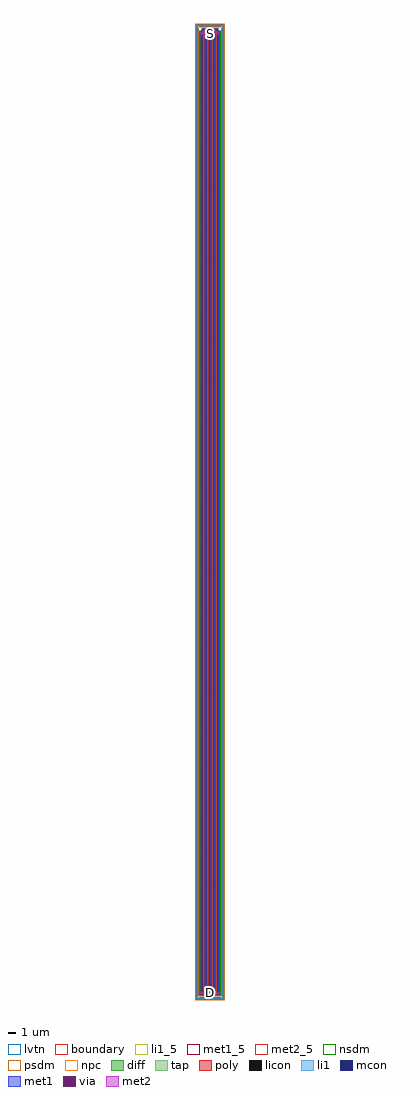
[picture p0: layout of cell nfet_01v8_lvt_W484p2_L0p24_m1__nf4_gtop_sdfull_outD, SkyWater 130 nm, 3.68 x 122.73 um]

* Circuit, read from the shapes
.subckt nfet_01v8_lvt_W484p2_L0p24_m1__nf4_gtop_sdfull_outD B D G S
XM1 S G D B sky130_fd_pr__nfet_01v8_lvt w=121.05 l=0.24 m=4
.ends

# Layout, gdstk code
import gdstk
lib = gdstk.Library(unit=1e-6, precision=1e-09)
def R(c, l, rs):  # rectangles x0, y0, x1, y1
    for r in rs: c.add(gdstk.rectangle(r[:2], r[2:], *l))
def A(c, l, x, y, w, h, nx, ny, dx, dy):  # array of equal rectangles
    R(c, l, [(x+i*dx, y+j*dy, x+i*dx+w, y+j*dy+h) for i in range(nx) for j in range(ny)])
diff = (65, 20)
tap = (65, 44)
poly = (66, 20)
licon = (66, 44)
li1_5 = (67, 5)
li1 = (67, 20)
mcon = (67, 44)
met1_5 = (68, 5)
met1 = (68, 20)
via = (68, 44)
met2_5 = (69, 5)
met2 = (69, 20)
nsdm = (93, 44)
psdm = (94, 20)
npc = (95, 20)
lvtn = (125, 44)
boundary = (235, 4)

sky130_fd_pr__nfet_01v8_ = lib.new_cell('sky130_fd_pr__nfet_01v8_lvt_P8DK7W')
R(sky130_fd_pr__nfet_01v8_, diff, [(-1.205,-60.68,1.205,60.37)])
R(sky130_fd_pr__nfet_01v8_, tap, [(-1.715,-61.24,1.715,-61.07), (-1.715,-61.07,-1.545,61.07), (1.545,-61.07,1.715,61.07), (-1.715,61.07,1.715,61.24)])
A(sky130_fd_pr__nfet_01v8_, poly, -0.915, -60.81, 0.24, 121.29, 4, 1, 0.53, 0)
R(sky130_fd_pr__nfet_01v8_, poly, [(-1.06,60.48,1.06,60.81)])
A(sky130_fd_pr__nfet_01v8_, licon, -1.105, -61.24, 0.17, 0.17, 7, 2, 0.34, 122.31)
A(sky130_fd_pr__nfet_01v8_, licon, -1.715, -60.605, 0.17, 0.17, 1, 357, 0, 0.34)
A(sky130_fd_pr__nfet_01v8_, licon, 1.545, -60.605, 0.17, 0.17, 1, 357, 0, 0.34)
A(sky130_fd_pr__nfet_01v8_, licon, -1.145, -60.59, 0.17, 0.17, 5, 356, 0.53, 0.34)
A(sky130_fd_pr__nfet_01v8_, licon, -0.88, 60.56, 0.17, 0.17, 4, 1, 0.53, 0)
A(sky130_fd_pr__nfet_01v8_, li1, -1.145, -60.7, 0.17, 121.09, 5, 1, 0.53, 0)
R(sky130_fd_pr__nfet_01v8_, li1, [(-1.715,-61.24,1.715,-61.07), (-1.715,-61.07,-1.545,61.07), (1.545,-61.07,1.715,61.07), (-1.06,60.56,1.06,60.73), (-1.715,61.07,1.715,61.24)])
A(sky130_fd_pr__nfet_01v8_, mcon, -1.145, -60.54, 0.17, 0.17, 5, 336, 0.53, 0.36)
A(sky130_fd_pr__nfet_01v8_, mcon, -0.88, 60.56, 0.17, 0.17, 4, 1, 0.53, 0)
A(sky130_fd_pr__nfet_01v8_, met1, -1.175, -60.68, 0.23, 121.05, 5, 1, 0.53, 0)
A(sky130_fd_pr__nfet_01v8_, met1, -0.94, 60.53, 0.29, 0.03, 4, 2, 0.53, 0.2)
R(sky130_fd_pr__nfet_01v8_, met1, [(-1.06,60.56,1.06,60.73)])
R(sky130_fd_pr__nfet_01v8_, nsdm, [(-1.33,-60.805,1.33,60.495)])
R(sky130_fd_pr__nfet_01v8_, psdm, [(-1.84,-61.365,1.84,-60.945), (-1.84,-60.945,-1.42,60.945), (1.42,-60.945,1.84,60.945), (-1.84,60.945,1.84,61.365)])
R(sky130_fd_pr__nfet_01v8_, npc, [(-0.98,60.46,0.98,60.83)])
R(sky130_fd_pr__nfet_01v8_, lvtn, [(-1.095,-60.86,1.095,60.55)])
R(sky130_fd_pr__nfet_01v8_, boundary, [(-1.63,-61.155,1.63,61.155)])
sky130_fd_pr__nfet_01v8_.add(gdstk.Label('B', (0,-61.155), layer=67, texttype=5))
sky130_fd_pr__nfet_01v8_.add(gdstk.Label('D0', (-1.06,-0.155), layer=67, texttype=5))
sky130_fd_pr__nfet_01v8_.add(gdstk.Label('G', (0.795,60.645), layer=67, texttype=5))
sky130_fd_pr__nfet_01v8_.add(gdstk.Label('G', (0.265,60.645), layer=67, texttype=5))
sky130_fd_pr__nfet_01v8_.add(gdstk.Label('G', (-0.265,60.645), layer=67, texttype=5))
sky130_fd_pr__nfet_01v8_.add(gdstk.Label('G', (-0.795,60.645), layer=67, texttype=5))
sky130_fd_pr__nfet_01v8_.add(gdstk.Label('S1', (-0.53,-0.155), layer=67, texttype=5))
sky130_fd_pr__nfet_01v8_.add(gdstk.Label('D2', (0,-0.155), layer=67, texttype=5))
sky130_fd_pr__nfet_01v8_.add(gdstk.Label('S3', (0.53,-0.155), layer=67, texttype=5))

nfet_01v8_lvt_w484p2_l0p = lib.new_cell('nfet_01v8_lvt_W484p2_L0p24_m1__nf4_gtop_sdfull_outD')
R(nfet_01v8_lvt_w484p2_l0p, li1_5, [(1.545,-0.085,1.715,0.085)])
R(nfet_01v8_lvt_w484p2_l0p, li1, [(1.545,-0.085,1.715,0.085)])
R(nfet_01v8_lvt_w484p2_l0p, met1_5, [(0.57,121.685,2.69,121.915)])
A(nfet_01v8_lvt_w484p2_l0p, met1, 0.44, 0.525, 0.26, 0.32, 3, 1, 1.06, 0)
R(nfet_01v8_lvt_w484p2_l0p, met1, [(0.97,121.155,1.23,121.475), (2.03,121.155,2.29,121.475), (0.57,121.685,2.69,121.915)])
A(nfet_01v8_lvt_w484p2_l0p, via, 0.495, 0.61, 0.15, 0.15, 3, 1, 1.06, 0)
R(nfet_01v8_lvt_w484p2_l0p, via, [(1.025,121.24,1.175,121.39), (2.085,121.24,2.235,121.39)])
R(nfet_01v8_lvt_w484p2_l0p, met2_5, [(0.435,0.525,2.825,0.845), (0.435,121.155,2.825,121.475)])
R(nfet_01v8_lvt_w484p2_l0p, met2, [(0.435,0.525,2.825,0.845), (0.435,121.155,2.825,121.475)])
nfet_01v8_lvt_w484p2_l0p.add(gdstk.Reference(sky130_fd_pr__nfet_01v8_, (1.63,61.155)))
nfet_01v8_lvt_w484p2_l0p.add(gdstk.Label('S', (1.63,121.315), layer=69, texttype=5))
nfet_01v8_lvt_w484p2_l0p.add(gdstk.Label('D', (1.63,0.685), layer=69, texttype=5))
nfet_01v8_lvt_w484p2_l0p.add(gdstk.Label('G', (1.63,121.8), layer=68, texttype=5))
nfet_01v8_lvt_w484p2_l0p.add(gdstk.Label('B', (1.63,0), layer=67, texttype=5))

lib.write_gds('nfet_01v8_lvt_W484p2_L0p24_m1__nf4_gtop_sdfull_outD.gds')
